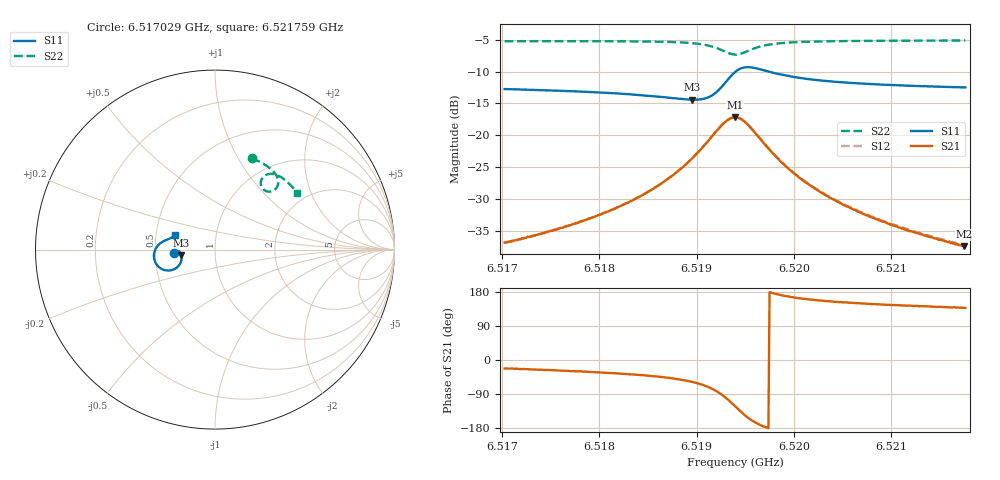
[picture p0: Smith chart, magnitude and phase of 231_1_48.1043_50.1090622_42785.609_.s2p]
#  HZ  S  RI  R  50.00
! Rohde & Schwarz Vector Network Analyzer
! Rohde-Schwarz,ZNB20-2Port,1311601062101988,3.16
! Created: UTC 12/23/2023, 3:57:45 AM
! freq[Hz]  re:S11  im:S11  re:S21  im:S21  re:S12  im:S12  re:S22  im:S22
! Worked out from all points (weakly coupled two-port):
!   401 points, 6.517029 GHz to 6.521759 GHz, reference 50 ohm
!   highest |S21| = -17.20 dB at 6.519394 GHz (marker M1); lowest = -37.5 dB at 6.521747 GHz (marker M2)
!   lowest |S11| = -14.4 dB at 6.518957 GHz (marker M3), VSWR 1.47, Z = 34.2 - j2.29 ohm
!   |S11| at or under -10 dB: start of sweep to 6.5194 GHz; 6.519741 GHz to end of sweep
!   |S22| runs from -7.3 to -5.1 dB; largest |S21 - S12| = 0.0044
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6.5170292e9  -0.23 -0.0165  0.0132 -0.00545  0.0134 -0.00492  0.2051 0.5084
6.5174194e9  -0.2257 -0.0109  0.0153 -0.00737  0.0155 -0.00688  0.234 0.4964
6.5178215e9  -0.22 -0.00624  0.0182 -0.0105  0.0185 -0.01  0.2637 0.4812
6.5182708e9  -0.2108 -0.00431  0.0231 -0.0174  0.0238 -0.0166  0.2975 0.4598
6.5186137e9  -0.2005 -0.00898  0.029 -0.0281  0.03 -0.0274  0.324 0.437
6.5187674e9  -0.1947 -0.0155  0.0322 -0.037  0.0336 -0.0362  0.336 0.4229
6.5189566e9  -0.1872 -0.0324  0.035 -0.0558  0.0371 -0.055  0.3489 0.3983
6.5190748e9  -0.1862 -0.0525  0.0325 -0.0755  0.0351 -0.0751  0.3526 0.3757
6.5191576e9  -0.1919 -0.0733  0.024 -0.0946  0.0272 -0.0946  0.3487 0.3559
6.5192286e9  -0.2067 -0.0945  0.00768 -0.1127  0.0111 -0.1134  0.3373 0.3376
6.5192995e9  -0.2362 -0.1129  -0.0215 -0.1262  -0.0179 -0.1276  0.3147 0.3244
6.5193941e9  -0.294 -0.1093  -0.0731 -0.1171  -0.0701 -0.1203  0.2747 0.3316
6.5194414e9  -0.3191 -0.0908  -0.0935 -0.0982  -0.0913 -0.1017  0.2604 0.3476
6.5195005e9  -0.3368 -0.0594  -0.1057 -0.0689  -0.1045 -0.0724  0.2548 0.3718
6.5196069e9  -0.3363 -0.00891  -0.0995 -0.0258  -0.0996 -0.0288  0.2691 0.405
6.5197015e9  -0.3216 0.0184  -0.0842 -0.00481  -0.0848 -0.00733  0.2897 0.4183
6.519938e9  -0.2887 0.0457  -0.0536 0.0119  -0.0545 0.0104  0.3313 0.4198
6.5201863e9  -0.2683 0.055  -0.0366 0.0139  -0.0375 0.0132  0.36 0.4083
6.5205292e9  -0.252 0.0616  -0.0245 0.013  -0.0252 0.0126  0.3886 0.3889
6.5209786e9  -0.239 0.0682  -0.0165 0.0113  -0.0171 0.0111  0.418 0.3624
6.5217472e9  -0.2243 0.0786  -0.00987 0.00906  -0.0104 0.00888  0.458 0.3152
6.521759e9  -0.2241 0.0789  -0.00989 0.00906  -0.0103 0.00889  0.4586 0.3144
